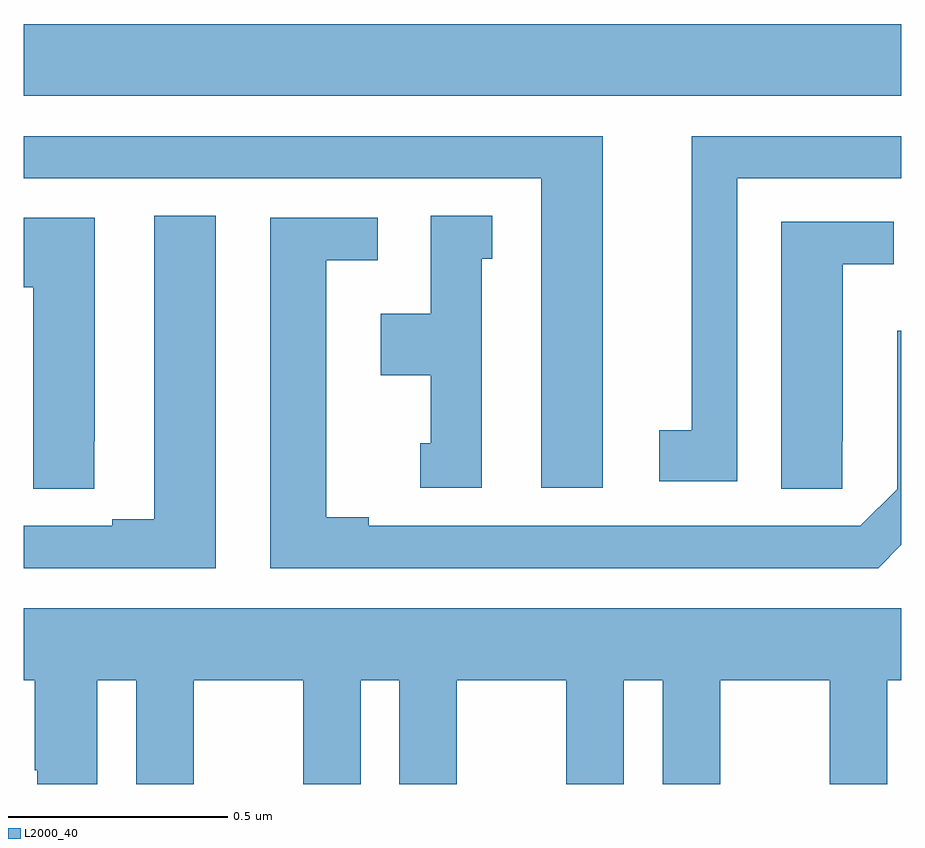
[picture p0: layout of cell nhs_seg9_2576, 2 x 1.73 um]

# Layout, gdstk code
import gdstk
lib = gdstk.Library(unit=1e-6, precision=1e-09)
def R(c, l, rs):  # rectangles x0, y0, x1, y1
    for r in rs: c.add(gdstk.rectangle(r[:2], r[2:], *l))
def P(c, l, *ps):  # polygons
    for p in ps: c.add(gdstk.Polygon(p, *l))
L2000_40 = (2000, 40)

nhs_seg9_2576 = lib.new_cell('nhs_seg9_2576')
R(nhs_seg9_2576, L2000_40, [(142,1215.068,144,1215.232)])
P(nhs_seg9_2576, L2000_40, [(143.32,1214.976),(142,1214.976),(142,1214.88),(143.18,1214.88),(143.18,1214.175),(143.32,1214.175)],
  [(143.626,1214.88),(144,1214.88),(144,1214.976),(143.522,1214.976),(143.522,1214.306),(143.448,1214.306),(143.448,1214.19),(143.626,1214.19)],
  [(142.438,1214.795),(142.298,1214.795),(142.298,1214.103),(142.202,1214.103),(142.202,1214.088),(142,1214.088),(142,1213.992),(142.438,1213.992)],
  [(143.044,1214.697),(143.068,1214.697),(143.068,1214.795),(142.928,1214.795),(142.928,1214.572),(142.814,1214.572),(142.814,1214.432),(142.928,1214.432),(142.928,1214.277),(142.904,1214.277),(142.904,1214.175),(143.044,1214.175)],
  [(142.161,1214.281),(142.162,1214.281),(142.162,1214.791),(142,1214.791),(142,1214.632),(142.022,1214.632),(142.022,1214.173),(142.161,1214.173)],
  [(144,1214.045),(144,1214.533),(143.991,1214.533),(143.991,1214.172),(143.907,1214.088),(142.786,1214.088),(142.786,1214.108),(142.69,1214.108),(142.69,1214.694),(142.807,1214.694),(142.807,1214.79),(142.562,1214.79),(142.562,1213.992),(143.947,1213.992)],
  [(143.865,1214.281),(143.866,1214.281),(143.866,1214.684),(143.983,1214.684),(143.983,1214.781),(143.726,1214.781),(143.726,1214.173),(143.865,1214.173)],
  [(142.168,1213.736),(142.256,1213.736),(142.256,1213.5),(142.387,1213.5),(142.387,1213.736),(142.637,1213.736),(142.637,1213.5),(142.768,1213.5),(142.768,1213.736),(142.856,1213.736),(142.856,1213.5),(142.987,1213.5),(142.987,1213.736),(143.237,1213.736),(143.237,1213.5),(143.368,1213.5),(143.368,1213.736),(143.456,1213.736),(143.456,1213.5),(143.587,1213.5),(143.587,1213.736),(143.837,1213.736),(143.837,1213.5),(143.968,1213.5),(143.968,1213.736),(144,1213.736),(144,1213.9),(142,1213.9),(142,1213.736),(142.025,1213.736),(142.025,1213.531),(142.031,1213.531),(142.031,1213.5),(142.168,1213.5)])

lib.write_gds('nhs_seg9_2576.gds')
